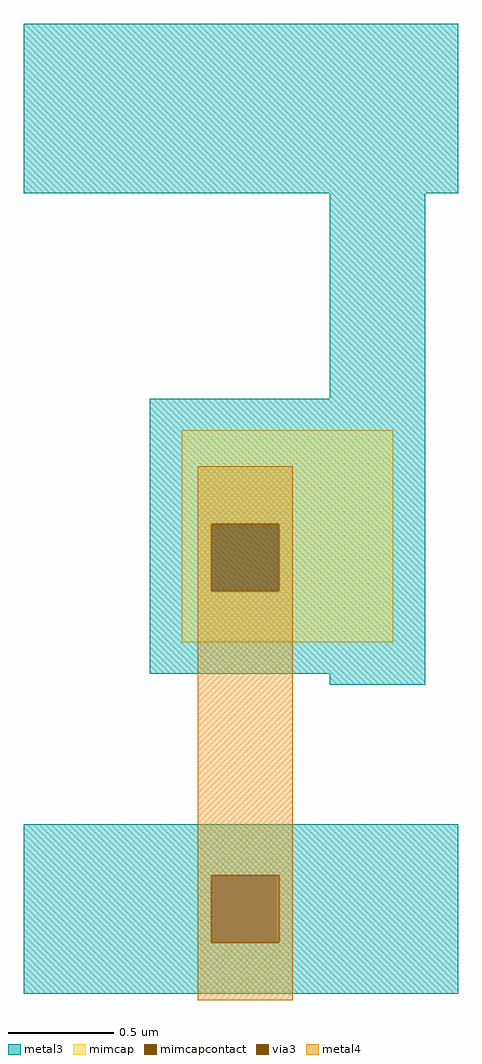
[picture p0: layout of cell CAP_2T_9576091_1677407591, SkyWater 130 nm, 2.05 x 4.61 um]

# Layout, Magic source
magic
tech sky130A
magscale 1 2
<< metal3 >>
rect 53 928 463 1088
rect 342 734 432 928
rect 172 474 432 734
rect 342 464 432 474
rect 53 284 463 332
rect 53 220 230 284
rect 294 220 463 284
rect 53 172 463 220
<< via3 >>
rect 230 220 294 284
<< mimcap >>
rect 202 616 402 704
rect 202 552 230 616
rect 294 552 402 616
rect 202 504 402 552
<< mimcapcontact >>
rect 230 552 294 616
<< metal4 >>
rect 217 616 307 670
rect 217 552 230 616
rect 294 552 307 616
rect 217 284 307 552
rect 217 220 230 284
rect 294 220 307 284
rect 217 166 307 220
<< end >>
